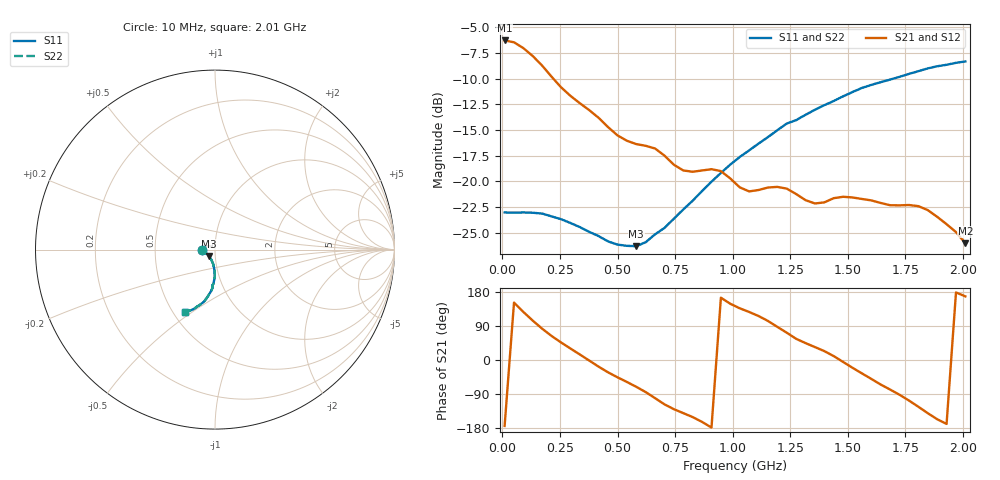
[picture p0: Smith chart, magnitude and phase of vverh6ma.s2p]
# MHz S MA R 50
!  freq  S11  S21  S12  S22
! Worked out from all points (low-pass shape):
!   50 points, 10 MHz to 2.01 GHz, reference 50 ohm
!   highest |S21| = -6.26 dB at 10 MHz (marker M1); lowest = -26.0 dB at 2.01 GHz (marker M2)
!   |S21| within 3 dB of the highest: start of sweep to 193.7 MHz
!   lowest |S11| = -26.3 dB at 581.4 MHz (marker M3), VSWR 1.10, Z = 46.7 - j3.31 ohm
!   |S11| at or under -10 dB: start of sweep to 1.695 GHz
!   |S22| runs from -26.3 to -8.3 dB; largest |S21 - S12| = 0.00042
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10  0.07058 -179.9  0.4862 -174.1  0.4863 -174.1  0.07055 -179.9
50.81633  0.07044 -178.4  0.4763 151.5  0.4763 151.5  0.07034 -178.0
91.63265  0.07059 -177.1  0.4459 126.7  0.4462 126.8  0.07033 -177.2
132.449  0.07036 -176.1  0.408 103.8  0.4077 103.7  0.07007 -176.1
173.2653  0.0697 -174.8  0.3663 82.5  0.3662 82.5  0.06951 -174.9
214.0816  0.06754 -173.6  0.3236 63.3  0.3235 63.4  0.06727 -173.5
295.7143  0.06273 -170.4  0.2612 30.3  0.2611 30.3  0.06277 -170.2
377.3469  0.05679 -163.9  0.2225 -1.5  0.2226 -1.4  0.05671 -164.2
458.9796  0.05101 -154.1  0.1839 -32.5  0.184 -32.6  0.05097 -154.3
581.4286  0.04836 -133.1  0.152 -70.7  0.1521 -70.7  0.0483 -132.7
703.8776  0.05934 -110.8  0.1336 -117.0  0.1337 -116.9  0.05958 -110.8
785.5102  0.07298 -100.8  0.1131 -140.2  0.113 -140.2  0.0728 -101.0
907.9592  0.0997 -93.3  0.1147 -178.3  0.1145 -178.2  0.09953 -93.3
948.7755  0.1099 -92.2  0.1123 164.4  0.1123 164.6  0.1099 -92.1
1030.408  0.1315 -90.7  0.09361 136.5  0.0936 136.3  0.1315 -90.6
1071.224  0.1416 -90.5  0.08941 126.8  0.08923 127.0  0.1416 -90.4
1234.49  0.1914 -92.7  0.09224 72.1  0.09224 71.9  0.1917 -92.7
1356.939  0.2234 -94.5  0.07807 34.1  0.07805 34.0  0.2231 -94.5
1520.204  0.2726 -99.7  0.08353 -20.6  0.08341 -20.6  0.2724 -99.6
1683.469  0.3136 -104.5  0.07656 -78.1  0.07656 -78.1  0.3138 -104.5
1846.735  0.3554 -110.2  0.07247 -140.4  0.07256 -140.3  0.3556 -110.2
2010  0.3842 -115.8  0.04988 167.8  0.04992 167.5  0.384 -115.6
